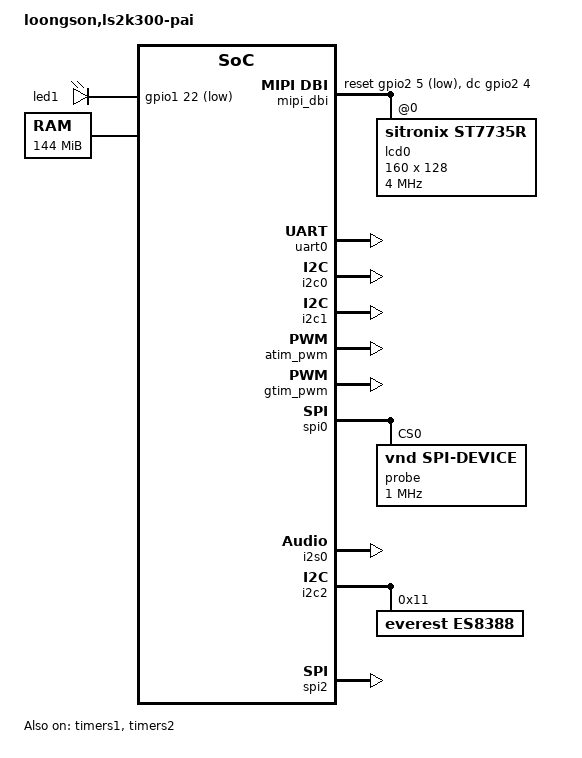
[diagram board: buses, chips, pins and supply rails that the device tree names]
/*
 * SPDX-License-Identifier: Apache-2.0
 *
 * Loongson 2K0300 PAI ("LS2K300-PAI") development board.
 *
 * DDR starts at 0x9000_0000_0000_0000. The board is booted by u-boot, which
 * places the SPL / its own runtime in the upper part of the first 256 MB
 * window (CONFIG_SPL_TEXT_BASE = 0x9000_0000_0900_0000,
 * CONFIG_SYS_TEXT_BASE = 0x9000_0000_0EC0_0000).
 *
 * The board u-boot hands over with CRMD=0 (paging disabled, no direct map
 * window). The uImage carries the 32 bit entry point 0x0300_1844, which
 * u-boot resolves through the cached 0x9 window, so the image has to be
 * transferred to physical 0x0300_0000 ("tftpboot 0x03000000 zephyr.uImage;
 * bootm") while its linked address is 0x9000_0000_0300_0000. Zephyr programs
 * DMW0/DMW1 and enables PG in reset.S (CONFIG_LOONGARCH_BOOT_DMW_MODE), which
 * is what keeps 0x8000_0000_xxxx_xxxx uncached for MMIO and makes the 0x9
 * window cached RAM. The 96 MB window ends at 0x0900_0000, i.e. below the SPL
 * (physical 0x0900_0000).
 */

/dts-v1/;

#include <loongson/ls2k0300.dtsi>
#include <zephyr/dt-bindings/gpio/gpio.h>

/ {
	model = "loongson,ls2k300-pai";
	compatible = "loongson,ls2k300-pai";

	aliases {
		led0 = &led0;
	};

	/*
	 * Board LED, from the vendor kernel's device tree for this board. The
	 * board is the Loongson 2K0300 "先锋派" (Vanguard PI), described in
	 * arch/loongarch/boot/dts/ls2k300_vanguard_pi_common.dtsi:
	 *
	 *   leds {
	 *           led1 {
	 *                   label = "led1";
	 *                   gpios = <&gpio 54 GPIO_ACTIVE_LOW>;
	 *                   linux,default-trigger = "heartbeat";
	 *                   default-state = "on";
	 *           };
	 *   };
	 *
	 *   lcd_backlight: backlight {
	 *           gpios = <&gpio 43 GPIO_ACTIVE_HIGH>;   / * panel, not an LED * /
	 *   };
	 *
	 * Absolute GPIO54 is bank 1 pin 22 in this port, which splits the IP
	 * into banks of at most 32 pins. The vendor LED node carries no
	 * pinctrl-0, so the reset value of the mux block (function 0 = GPIO) is
	 * what the LED needs and no pinctrl state is required here either.
	 *
	 * This matches the board's u-boot device tree (u-boot/.../ls2k300_pai.dts),
	 * which also uses GPIO43 as the backlight.
	 */
	leds {
		compatible = "gpio-leds";

		led0: led_0 {
			gpios = <&gpio1 22 GPIO_ACTIVE_LOW>;	/* absolute GPIO54 */
			label = "led1";
		};
	};

	chosen {
		zephyr,console = &uart0;
		zephyr,shell-uart = &uart0;
		zephyr,sram = &ram0;
		/*
		 * The ST7735S TFT on SPI2 is the active display; switch this
		 * back to &ssd1306 to give the I2C1 OLED the LVGL/display
		 * samples again (both drivers stay enabled).
		 */
		zephyr,display = &lcd0;
	};

	ram0: memory@9000000003000000 {
		device_type = "memory";
		compatible = "mmio-sram";
		reg = <0x90000000 0x03000000 0x0 0x06000000>;
	};
};

/* Console: UART0 @ 115200n8 */
&uart0 {
	status = "okay";
};

/* Blinkable led0 needs the GPIO controller */
&gpio0 {
	status = "okay";
};

&gpio1 {
	status = "okay";
};

/* GPIO64..95: enabled so the shell can drive any LED candidate in this bank */
&gpio2 {
	status = "okay";
};

/* GPIO96..105 */
&gpio3 {
	status = "okay";
};

/*
 * I2C0 on GPIO48 (SCL) and GPIO49 (SDA), both switched to their primary
 * function by the pin mux block. The bus needs external pull-ups; with none the
 * controller still runs and simply sees no targets. The other three controllers
 * share the same header pins (i2c1 on GPIO50/51, i2c2 on GPIO52/53, i2c3 on
 * GPIO54/55) and stay disabled until something uses them.
 */
&i2c0 {
	status = "okay";
};

/*
 * SSD1306 OLED on i2c1: GPIO50 = SCL, GPIO51 = SDA, both switched to the I2C
 * function by the pin mux block. The panel is the usual 128x64 module on its
 * default address 0x3c; the controller parameters follow the
 * seeed_xiao_expansion_board shield, which drives the same part.
 *
 * The bus does not drive itself: external pull-ups on SCL/SDA are required.
 * The controller runs at its 100 kHz default here; the panel also handles
 * 400 kHz, which needs a correspondingly stronger pull-up (override
 * clock-frequency in &i2c1 if the wiring supports it).
 *
 * With no panel attached the driver fails fast (the address byte is NACKed, so
 * it sees -ENXIO and not a bus timeout) and the display device simply stays
 * unready - the console is not affected.
 */
&i2c1 {
	status = "okay";

	ssd1306: ssd1306@3c {
		compatible = "solomon,ssd1306";
		reg = <0x3c>;
		/*
		 * Disabled while the ST7735S TFT is the active display (the
		 * OLED is unplugged; an enabled node would just log init
		 * failures at every boot). Set "okay" again - and point
		 * zephyr,display back at &ssd1306 - to use the OLED.
		 */
		status = "disabled";

		width = <128>;
		height = <64>;

		segment-offset = <0>;
		page-offset = <0>;
		display-offset = <0>;
		multiplex-ratio = <63>;
		prechargep = <0x22>;
		segment-remap;
		com-invdir;
	};
};

/*
 * Both SoC timer blocks as PWM sources, each with its PWM child enabled so that
 * the driver binds to it. Both run off the APB clock (100 MHz) and are driven
 * from the console - by node label, because the two blocks are separate
 * controllers and therefore separate PWM devices:
 *
 *   pwm frequency atim_pwm 3        # cycle unit of the ATIM (100000000)
 *   pwm usec atim_pwm 3 1000 500    # 1 kHz, 50 % on ATIM channel 3
 *   pwm usec gtim_pwm 1 2000 1000   # 500 Hz, 50 % on GTIM channel 2
 *
 * Zephyr numbers PWM channels from zero, so chip channel CH2 is index 1 and CH3
 * is index 2. Keep in mind that all channels of one block share the prescaler
 * and the reload register: a second channel on the same block may only be given
 * the same period (the driver refuses anything else with -EBUSY). The two blocks
 * are independent of each other, which is what makes two frequencies possible.
 *
 * ATIM channel 3 is muxed to GPIO83, the pin the vendor device tree calls
 * "atim3_pin_m1" and the pin Linux switches for the LCD backlight on the 99pi
 * board; "atim3_g30_default" is the same channel on GPIO30.
 *
 * GTIM channel 2 ("TIM2_CH2" in the vendor tables) is muxed to GPIO88, the
 * vendor's "gtim2_pin_m1"; "gtim2_g35_default" is the same channel on GPIO35.
 *
 * Both pins are free on this board: the LED is on GPIO54, the console on
 * GPIO40/41 and both I2C buses on GPIO48..51. A board that uses i2c2/i2c3 on
 * their alternative G82..G85 group must move the PWM channels elsewhere - the
 * SoC device tree lists the pins of all channels next to these states.
 */
&timers1 {
	status = "okay";
	/*
	 * Channel 3 and its complementary output: CH3 on GPIO83 (atim3_pin_m1)
	 * and CH3N on GPIO86 (atim3n_pin_m1), the pair the vendor device tree
	 * muxes for the 99pi's backlight. The driver drives both: configuring
	 * ATIM channel 3 enables CC3E and CC3NE, so the two pins output the
	 * complementary pair of one channel. Drop the second phandle if the
	 * board only needs the single-ended output, and note that no dead time
	 * is inserted between them (BDTR.DTG stays 0).
	 */
	pinctrl-0 = <&atim3_g83_default &atim3n_g86_default>;
	pinctrl-names = "default";
};

&atim_pwm {
	status = "okay";
};

&timers2 {
	status = "okay";
	pinctrl-0 = <&gtim2_g88_default>;
	pinctrl-names = "default";
};

&gtim_pwm {
	status = "okay";
};

/*
 * SPI0, the four interface pins G56 (clock), G57 (miso), G58 (mosi) and
 * G59 (chip select) - the group u-boot has already muxed to the SPI
 * function, so the board only names it. Bring-up is through the shell
 * (CONFIG_SPI_SHELL in the bring-up config).
 */
&spi0 {
	status = "okay";
	pinctrl-0 = <&spi0_g56_default &spi0_g57_default &spi0_g58_default
		     &spi0_g59_default>;
	pinctrl-names = "default";

	/*
	 * Bring-up probe: the SPI shell addresses DT devices, so the bus
	 * carries one placeholder at chip select 0 for the loopback test.
	 * Jumper MOSI (G58) to MISO (G57) and
	 *
	 *   spi transceive probe 0xaa
	 *
	 * reads back the byte it sent. Replace this node with the real
	 * peripheral once one is wired to the bus.
	 */
	probe: spi-probe@0 {
		compatible = "vnd,spi-device";
		reg = <0>;
		spi-max-frequency = <1000000>;
	};
};

/*
 * I2S controller, with the four interface pins it needs (bit clock, frame
 * clock, data in, data out). The MCLK pin (GPIO76) is left alone: this board
 * clocks its ES8388 codec from a fixed 12.288 MHz oscillator, so driving the
 * controller's MCLK output would put two drivers on that net.
 *
 * The codec itself cannot be brought up yet: Zephyr has no ES8388 driver, so
 * the controller is enabled for register-level checks and for the digital
 * loopback test - jumper data out (GPIO80) to data in (GPIO79) and run
 * samples/drivers/i2s/echo with the "i2s_rxtx" label this node carries.
 */
&i2s0 {
	status = "okay";
	/*
	 * The MCLK pin is part of the group: the codec takes its system clock
	 * from this controller, which is what the vendor kernel does by default
	 * (its driver only leaves MCLK alone when a board sets "mclk-external",
	 * and none of its board trees does - the fixed clock in their codec node
	 * is a placeholder their own comment calls unused in slave mode). The
	 * driver programs the fractional divider to 256 * frame rate, i.e.
	 * 12.288 MHz at 48 kHz, which is also the rate the codec node declares.
	 *
	 * A board that clocks its codec from its own oscillator instead must
	 * drop "mclk-output" and the MCLK pin from this group, or two drivers
	 * end up on that net.
	 */
	pinctrl-0 = <&i2s_mclk_g76_default &i2s_bclk_g77_default &i2s_lr_g78_default
		     &i2s_di_g79_default &i2s_do_g80_default>;
	pinctrl-names = "default";
	mclk-output;

	/*
	 * The codec's data out (G79, "datai" here) is an input to this
	 * controller, and the pin state only picks the function - it leaves the
	 * pad direction as the boot loader left it, which is an output on every
	 * one of these five pins. Left alone, the pad would drive the codec's
	 * data line against it; the driver switches this one to an input.
	 */
	loongson,data-in-gpios = <&gpio2 15 0>;
};

/*
 * ES8388 audio codec on i2c2 (SCL on GPIO52, SDA on GPIO53), address 0x11 -
 * the wiring the vendor device tree describes as "codec: es8388@11".
 *
 * Its system clock comes from a 12.288 MHz oscillator on the board rather than
 * from the I2S controller, and it is the target of the I2S clocks: the SoC
 * drives BCLK and LRCLK, exactly as the vendor machine driver configures the
 * link (SND_SOC_DAIFMT_CBS_CFS).
 *
 * Two labels: "es8388" for code that wants this part, "audio_codec" because
 * that is what the upstream samples look for.
 */
&i2c2 {
	status = "okay";

	es8388: audio_codec: es8388@11 {
		compatible = "everest,es8388";
		reg = <0x11>;
		mclk-frequency = <12288000>;
	};
};

/*
 * ST7735S TFT on SPI2: G64 = SCK, G66 = MOSI (G65/MISO unused by the panel),
 * CS = G67 as a GPIO (the ls-spi-io block has no chip select of its own),
 * DC = G68 and RES = G69 as plain GPIOs.
 *
 * The panel parameters follow the ST7735S values the Sipeed longan_nano board
 * ships (the same controller), with the 160x128 geometry of the common
 * module: x-offset 2, y-offset 1, landscape MADCTL (MV|RGB), display
 * inversion on. If the picture is shifted, rotated or the colors swap, the
 * knobs to try first are x-offset/y-offset, madctl, inversion-on and
 * rgb-is-inverted - ST7735S modules differ by tab color in exactly those.
 *
 * mipi-max-frequency is left at 4 MHz for jumper wires; a properly routed
 * board runs this panel at 20 MHz and more.
 */
&spi2 {
	status = "okay";
	pinctrl-0 = <&spi2_g64_default &spi2_g65_default &spi2_g66_default>;
	pinctrl-names = "default";
	cs-gpios = <&gpio2 3 GPIO_ACTIVE_LOW>;	/* G67 */
};

/ {
	mipi_dbi {
		compatible = "zephyr,mipi-dbi-spi";
		spi-dev = <&spi2>;
		dc-gpios = <&gpio2 4 GPIO_ACTIVE_HIGH>;	/* G68 */
		reset-gpios = <&gpio2 5 GPIO_ACTIVE_LOW>;	/* G69 */
		write-only;
		#address-cells = <1>;
		#size-cells = <0>;

		lcd0: lcd@0 {
			compatible = "sitronix,st7735r";
			reg = <0>;
			width = <160>;
			height = <128>;
			x-offset = <2>;
			y-offset = <1>;
			madctl = <0x60>;
			colmod = <0x05>;
			inversion-on;
			rgb-is-inverted;
			invctr = <3>;
			pwctr1 = [62 02 04];
			pwctr2 = [c0];
			pwctr3 = [0d 00];
			pwctr4 = [8d 6a];
			pwctr5 = [8d ee];
			frmctr1 = [05 3a 3a];
			frmctr2 = [05 3a 3a];
			frmctr3 = [05 3a 3a 05 3a 3a];
			vmctr1 = <0x14>;
			gamctrp1 = [10 0e 02 03 0e 07 02 07 0a 12 27 37 00 0d 0e 10];
			gamctrn1 = [10 0e 03 03 0f 06 02 08 0a 13 26 36 00 0d 0e 10];

			mipi-mode = "MIPI_DBI_MODE_SPI_4WIRE";
			mipi-max-frequency = <4000000>;
		};
	};
};
